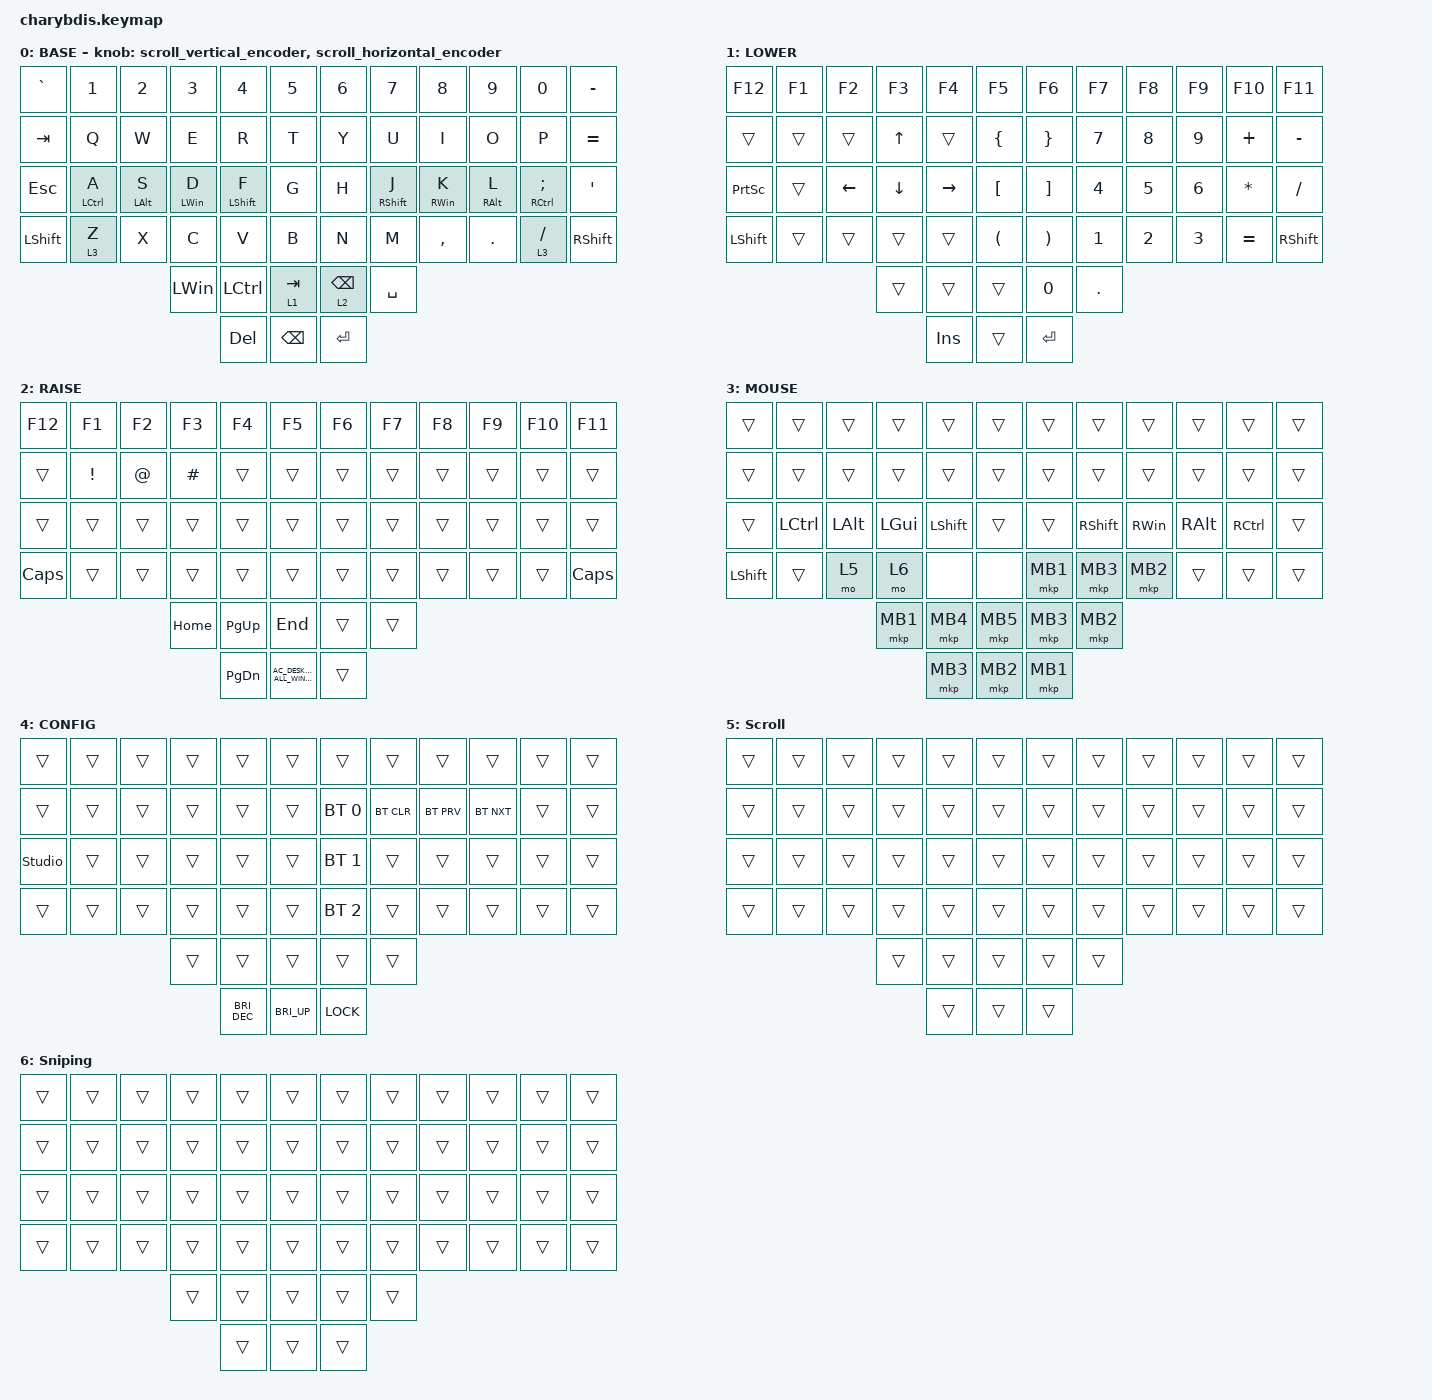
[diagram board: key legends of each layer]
#include <dt-bindings/zmk/mouse.h>
#include <input/processors.dtsi>
#include <zephyr/dt-bindings/input/input-event-codes.h>
#include <behaviors.dtsi>
#include <dt-bindings/zmk/bt.h>
#include <dt-bindings/zmk/keys.h>
#include <dt-bindings/zmk/pointing.h>

#define ZMK_POINTING_DEFAULT_MOVE_VAL 1000 // 600
#define ZMK_POINTING_DEFAULT_SCRL_VAL 12   // 10

&lt {
    tapping-term-ms = <170>;
    flavor = "tap-preferred";
    quick-tap-ms = <200>;
};

&mmv_input_listener { input-processors = <&zip_xy_scaler 2 1>; };

&msc_input_listener { input-processors = <&zip_scroll_scaler 2 1>; };

&msc {
    acceleration-exponent = <0>;      // 0
    time-to-max-speed-ms = <100>;       // 300
    delay-ms = <0>;                   // 0
};

&mmv {
    time-to-max-speed-ms = <500>;
    acceleration-exponent = <1>;
    trigger-period-ms = <16>;
};

&mt {
    tapping-term-ms = <170>;
    quick-tap-ms = <200>;
    flavor = "tap-preferred";
};

/ {
    // z

    scroll_vertical_encoder: scroll_vertical_encoder {
        compatible = "zmk,behavior-sensor-rotate";
        #sensor-binding-cells = <0>;
        bindings = <&msc SCRL_DOWN>, <&msc SCRL_UP>;

        tap-ms = <100>;
    };

    // 左右滚动编码器行为

    scroll_horizontal_encoder: scroll_horizontal_encoder {
        compatible = "zmk,behavior-sensor-rotate";
        #sensor-binding-cells = <0>;
        bindings = <&msc SCRL_LEFT>, <&msc SCRL_RIGHT>;

        tap-ms = <100>;
    };

    hml: home_row_mod_left {
        compatible = "zmk,behavior-hold-tap";
        bindings = <&kp>, <&kp>;

        #binding-cells = <2>;
        tapping-term-ms = <280>;
        quick-tap-ms = <175>;
        require-prior-idle-ms = <150>;
        flavor = "balanced";
        hold-trigger-key-positions = <0 1 2 3 4 5 12 13 14 15 16 17 24 25 26 27 28 29 36 37 38 39 40 41 48 49 50 53 54>;
        hold-trigger-on-release;
    };

    hmr: home_row_mod_right {
        compatible = "zmk,behavior-hold-tap";
        bindings = <&kp>, <&kp>;

        #binding-cells = <2>;
        tapping-term-ms = <280>;
        quick-tap-ms = <175>;
        require-prior-idle-ms = <150>;
        flavor = "balanced";
        hold-trigger-on-release;
        hold-trigger-key-positions = <6 7 8 9 10 11 18 19 20 21 22 23 30 31 32 33 34 35 42 43 44 45 46 47 51 52 55>;
    };

    // Layer definitions

    #define BASE 0
    #define LOWER 1
    #define RAISE 2
    #define MOUSE 3
    #define CONFIG 4
    #define SCROLL 5
    #define SNIPING 6

    behaviors {
    };

    combos {
        compatible = "zmk,combos";

        SETS {
            bindings = <&none>;
            key-positions = <54 55>;
            timeout-ms = <50>;
            layers = <4>;
        };
    };

    macros {
        win_capture: win_capture {
            compatible = "zmk,behavior-macro";
            #binding-cells = <0>;
            bindings = <&kp LWIN &kp LALT &kp S>;
            label = "WIN_CAPTURE";
        };
    };

    keymap {
        compatible = "zmk,keymap";

        BASE {
            bindings = <
&kp GRAVE       &kp N1              &kp N2          &kp N3          &kp N4            &kp N5           &kp N6           &kp N7       &kp N8      &kp N9           &kp N0                  &kp MINUS
&kp TAB         &kp Q               &kp W           &kp E           &kp R             &kp T            &kp Y            &kp U        &kp I       &kp O            &kp P                   &kp EQUAL
&kp ESCAPE      &mt LEFT_CONTROL A  &mt LEFT_ALT S  &mt LEFT_WIN D  &mt LSHIFT F      &kp G            &kp H            &mt RSHFT J  &mt RWIN K  &mt RIGHT_ALT L  &mt RIGHT_CONTROL SEMI  &kp SQT
&kp LEFT_SHIFT  &lt 3 Z             &kp X           &kp C           &kp V             &kp B            &kp N            &kp M        &kp COMMA   &kp PERIOD       &lt 3 SLASH             &kp RIGHT_SHIFT
                                                    &kp LWIN        &kp LEFT_CONTROL  &lt 1 TAB        &lt 2 BACKSPACE  &kp SPACE
                                                                    &kp DEL           &kp BACKSPACE    &kp RET
            >;

            sensor-bindings =
                <&scroll_vertical_encoder>,
                <&scroll_horizontal_encoder>;
        };

        LOWER {
            bindings = <
&kp F12          &kp F1  &kp F2    &kp F3          &kp F4     &kp F5              &kp F6             &kp F7      &kp F8  &kp F9  &kp F10       &kp F11
&trans           &trans  &trans    &kp UP_ARROW    &trans     &kp LBRC            &kp RBRC           &kp N7      &kp N8  &kp N9  &kp PLUS      &kp MINUS
&kp PRINTSCREEN  &trans  &kp LEFT  &kp DOWN_ARROW  &kp RIGHT  &kp LEFT_BRACKET    &kp RIGHT_BRACKET  &kp N4      &kp N5  &kp N6  &kp ASTERISK  &kp SLASH
&kp LSHFT        &trans  &trans    &trans          &trans     &kp LPAR            &kp RPAR           &kp N1      &kp N2  &kp N3  &kp EQUAL     &kp RSHIFT
                                   &trans          &trans     &trans              &kp N0             &kp PERIOD
                                                   &kp INS    &trans              &kp RETURN
            >;
        };

        RAISE {
            bindings = <
&kp F12       &kp F1    &kp F2  &kp F3    &kp F4     &kp F5                               &kp F6  &kp F7  &kp F8  &kp F9  &kp F10  &kp F11
&trans        &kp EXCL  &kp AT  &kp HASH  &trans     &trans                               &trans  &trans  &trans  &trans  &trans   &trans
&trans        &trans    &trans  &trans    &trans     &trans                               &trans  &trans  &trans  &trans  &trans   &trans
&kp CAPSLOCK  &trans    &trans  &trans    &trans     &trans                               &trans  &trans  &trans  &trans  &trans   &kp CAPS
                                &kp HOME  &kp PG_UP  &kp END                              &trans  &trans
                                          &kp PG_DN  &kp C_AC_DESKTOP_SHOW_ALL_WINDOWS    &trans
            >;
        };

        MOUSE {
            bindings = <
&trans      &trans            &trans        &trans    &trans      &trans      &trans    &trans      &trans    &trans         &trans             &trans
&trans      &trans            &trans        &trans    &trans      &trans      &trans    &trans      &trans    &trans         &trans             &trans
&trans      &kp LEFT_CONTROL  &kp LEFT_ALT  &kp LGUI  &kp LSHIFT  &trans      &trans    &kp RSHIFT  &kp RWIN  &kp RIGHT_ALT  &kp RIGHT_CONTROL  &trans
&kp LSHIFT  &trans            &mo 5         &mo 6     &none       &none       &mkp MB1  &mkp MB3    &mkp MB2  &trans         &trans             &trans
                                            &mkp MB1  &mkp MB4    &mkp MB5    &mkp MB3  &mkp MB2
                                                      &mkp MB3    &mkp MB2    &mkp MB1
            >;
        };

        CONFIG {
            bindings = <
&trans          &trans  &trans  &trans  &trans         &trans          &trans        &trans      &trans      &trans      &trans  &trans
&trans          &trans  &trans  &trans  &trans         &trans          &bt BT_SEL 0  &bt BT_CLR  &bt BT_PRV  &bt BT_NXT  &trans  &trans
&studio_unlock  &trans  &trans  &trans  &trans         &trans          &bt BT_SEL 1  &trans      &trans      &trans      &trans  &trans
&trans          &trans  &trans  &trans  &trans         &trans          &bt BT_SEL 2  &trans      &trans      &trans      &trans  &trans
                                &trans  &trans         &trans          &trans        &trans
                                        &kp C_BRI_DEC  &kp C_BRI_UP    &kp K_LOCK
            >;
        };

        scroll_layer {
            label = "SCROLL";
            display-name = "Scroll";
            bindings = <
&trans  &trans  &trans  &trans  &trans  &trans    &trans  &trans  &trans  &trans  &trans  &trans
&trans  &trans  &trans  &trans  &trans  &trans    &trans  &trans  &trans  &trans  &trans  &trans
&trans  &trans  &trans  &trans  &trans  &trans    &trans  &trans  &trans  &trans  &trans  &trans
&trans  &trans  &trans  &trans  &trans  &trans    &trans  &trans  &trans  &trans  &trans  &trans
                        &trans  &trans  &trans    &trans  &trans
                                &trans  &trans    &trans
            >;
        };

        sniping_layer {
            label = "SNIPING";
            display-name = "Sniping";
            bindings = <
&trans  &trans  &trans  &trans  &trans  &trans    &trans  &trans  &trans  &trans  &trans  &trans
&trans  &trans  &trans  &trans  &trans  &trans    &trans  &trans  &trans  &trans  &trans  &trans
&trans  &trans  &trans  &trans  &trans  &trans    &trans  &trans  &trans  &trans  &trans  &trans
&trans  &trans  &trans  &trans  &trans  &trans    &trans  &trans  &trans  &trans  &trans  &trans
                        &trans  &trans  &trans    &trans  &trans
                                &trans  &trans    &trans
            >;
        };
    };
};
